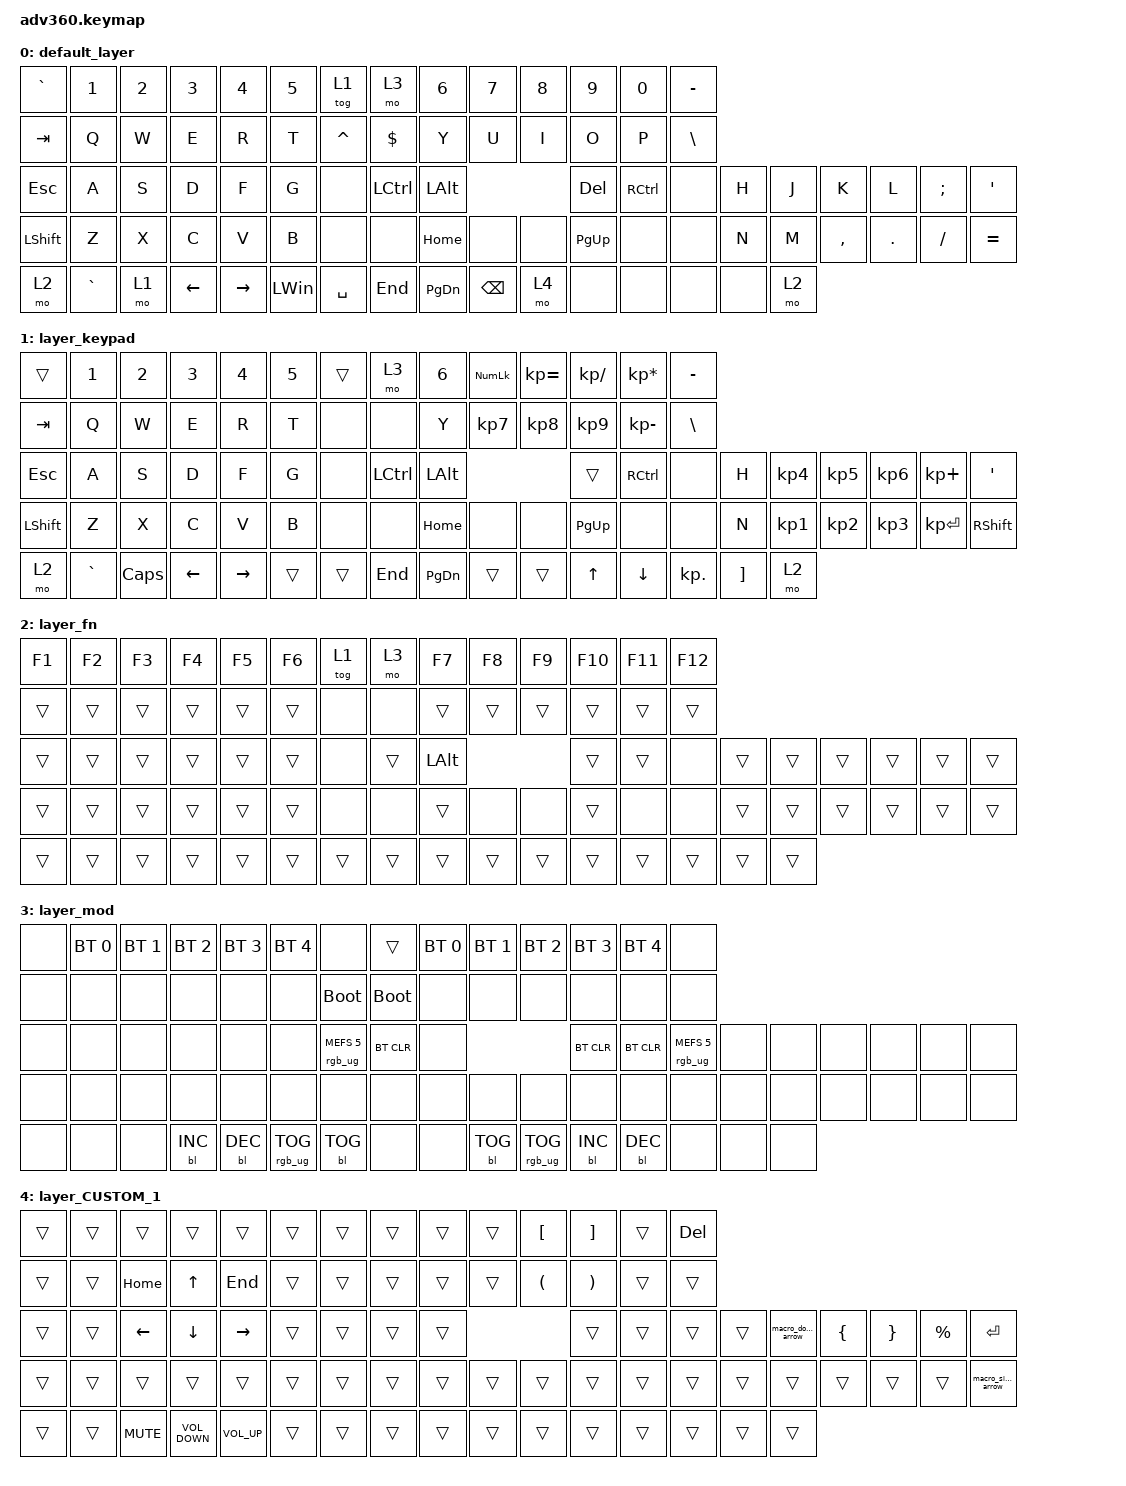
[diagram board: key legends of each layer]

/*
 * Copyright (c) 2020 The ZMK Contributors
 *
 * SPDX-License-Identifier: MIT
 */


/* THIS FILE WAS GENERATED!
 *
 * This file was generated automatically. You may or may not want to
 * edit it directly.
 */

#include <behaviors.dtsi>
#include <dt-bindings/zmk/keys.h>
#include <dt-bindings/zmk/bt.h>
#include <dt-bindings/zmk/rgb.h>
#include <dt-bindings/zmk/backlight.h>

/ {
  behaviors {
    #include "macros.dtsi"
    #include "version.dtsi"

    hm: homerow_mods {
        compatible = "zmk,behavior-hold-tap";
        label = "HOMEROW_MODS";
        #binding-cells = <2>;
        tapping-term-ms = <200>;
        quick_tap_ms = <175>;
        flavor = "tap-preferred";
        bindings = <&kp>, <&kp>;
    };
  };

    keymap {
        compatible = "zmk,keymap";


        default_layer {
            bindings = <
 &kp GRAVE     &kp N1  &kp N2    &kp N3     &kp N4    &kp N5               &tog 1       &mo 3     &kp N6         &kp N7  &kp N8      &kp N9     &kp N0  &kp MINUS
   &kp TAB      &kp Q   &kp W     &kp E      &kp R     &kp T            &kp CARET  &kp DOLLAR      &kp Y          &kp U   &kp I       &kp O      &kp P   &kp BSLH
   &kp ESC      &kp A   &kp S     &kp D      &kp F     &kp G                &none   &kp LCTRL   &kp LALT                         &kp DELETE  &kp RCTRL      &none   &kp H   &kp J      &kp K    &kp L  &kp SEMI    &kp SQT
 &kp LSHFT      &kp Z   &kp X     &kp C      &kp V     &kp B                &none       &none   &kp HOME          &none   &none   &kp PG_UP      &none      &none   &kp N   &kp M  &kp COMMA  &kp DOT  &kp FSLH  &kp EQUAL
     &mo 2  &kp GRAVE   &mo 1  &kp LEFT  &kp RIGHT  &kp LWIN            &kp SPACE     &kp END  &kp PG_DN  &kp BACKSPACE   &mo 4       &none      &none      &none   &none   &mo 2
            >;
        };

        layer_keypad {
            bindings = <
    &trans     &kp N1    &kp N2    &kp N3     &kp N4  &kp N5            &trans      &mo 3     &kp N6  &kp KP_NUM  &kp KP_EQUAL  &kp KP_DIVIDE  &kp KP_MULTIPLY   &kp MINUS
   &kp TAB      &kp Q     &kp W     &kp E      &kp R   &kp T             &none      &none      &kp Y   &kp KP_N7     &kp KP_N8      &kp KP_N9     &kp KP_MINUS    &kp BSLH
   &kp ESC      &kp A     &kp S     &kp D      &kp F   &kp G             &none  &kp LCTRL   &kp LALT                                   &trans        &kp RCTRL       &none     &kp H  &kp KP_N4  &kp KP_N5  &kp KP_N6   &kp KP_PLUS    &kp SQT
 &kp LSHFT      &kp Z     &kp X     &kp C      &kp V   &kp B             &none      &none   &kp HOME       &none         &none      &kp PG_UP            &none       &none     &kp N  &kp KP_N1  &kp KP_N2  &kp KP_N3  &kp KP_ENTER  &kp RSHFT
     &mo 2  &kp GRAVE  &kp CAPS  &kp LEFT  &kp RIGHT  &trans            &trans    &kp END  &kp PG_DN      &trans        &trans         &kp UP         &kp DOWN  &kp KP_DOT  &kp RBKT      &mo 2
            >;
        };

        layer_fn {
            bindings = <
 &kp F1  &kp F2  &kp F3  &kp F4  &kp F5  &kp F6            &tog 1   &mo 3        &kp F7  &kp F8  &kp F9  &kp F10  &kp F11  &kp F12
 &trans  &trans  &trans  &trans  &trans  &trans             &none   &none        &trans  &trans  &trans   &trans   &trans   &trans
 &trans  &trans  &trans  &trans  &trans  &trans             &none  &trans  &kp LEFT_ALT                   &trans   &trans    &none  &trans  &trans  &trans  &trans  &trans  &trans
 &trans  &trans  &trans  &trans  &trans  &trans             &none   &none        &trans   &none   &none   &trans    &none    &none  &trans  &trans  &trans  &trans  &trans  &trans
 &trans  &trans  &trans  &trans  &trans  &trans            &trans  &trans        &trans  &trans  &trans   &trans   &trans   &trans  &trans  &trans
            >;
        };

        layer_mod {
            bindings = <
  &none  &bt BT_SEL 0  &bt BT_SEL 1  &bt BT_SEL 2  &bt BT_SEL 3     &bt BT_SEL 4                             &none       &trans  &bt BT_SEL 0  &bt BT_SEL 1     &bt BT_SEL 2  &bt BT_SEL 3  &bt BT_SEL 4                   &none
  &none         &none         &none         &none         &none            &none                       &bootloader  &bootloader         &none         &none            &none         &none         &none                   &none
  &none         &none         &none         &none         &none            &none            &rgb_ug RGB_MEFS_CMD 5   &bt BT_CLR         &none                                   &bt BT_CLR    &bt BT_CLR  &rgb_ug RGB_MEFS_CMD 5   &none   &none   &none   &none   &none   &none
  &none         &none         &none         &none         &none            &none                             &none        &none         &none         &none            &none         &none         &none                   &none   &none   &none   &none   &none   &none   &none
  &none         &none         &none    &bl BL_INC    &bl BL_DEC  &rgb_ug RGB_TOG                        &bl BL_TOG        &none         &none    &bl BL_TOG  &rgb_ug RGB_TOG    &bl BL_INC    &bl BL_DEC                   &none   &none   &none
            >;
        };

        layer_CUSTOM_1 {
            bindings = <
 &trans  &trans          &trans             &trans           &trans  &trans            &trans  &trans  &trans  &trans      &kp LEFT_BRACKET      &kp RIGHT_BRACKET  &trans  &kp DELETE
 &trans  &trans        &kp HOME       &kp UP_ARROW          &kp END  &trans            &trans  &trans  &trans  &trans  &kp LEFT_PARENTHESIS  &kp RIGHT_PARENTHESIS  &trans      &trans
 &trans  &trans  &kp LEFT_ARROW     &kp DOWN_ARROW  &kp RIGHT_ARROW  &trans            &trans  &trans  &trans                                               &trans  &trans      &trans  &trans  &macro_double_arrow  &kp LEFT_BRACE  &kp RIGHT_BRACE  &kp PERCENT            &kp ENTER
 &trans  &trans          &trans             &trans           &trans  &trans            &trans  &trans  &trans  &trans                &trans                 &trans  &trans      &trans  &trans               &trans          &trans           &trans       &trans  &macro_single_arrow
 &trans  &trans      &kp C_MUTE  &kp C_VOLUME_DOWN  &kp C_VOLUME_UP  &trans            &trans  &trans  &trans  &trans                &trans                 &trans  &trans      &trans  &trans               &trans
            >;
        };

    };
};
